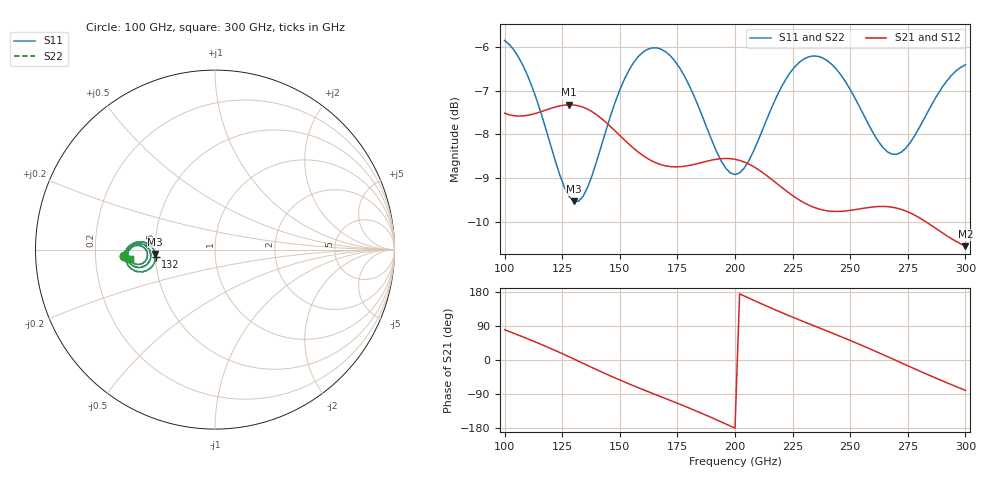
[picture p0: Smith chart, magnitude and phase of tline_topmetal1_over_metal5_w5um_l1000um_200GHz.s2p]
#  GHZ S DB R 50
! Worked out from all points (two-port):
!   101 points, 100 GHz to 300 GHz, reference 50 ohm
!   highest |S21| = -7.32 dB at 128 GHz (marker M1); lowest = -10.6 dB at 300 GHz (marker M2)
!   |S21| within 3 dB of the highest: start of sweep to 291.8 GHz
!   lowest |S11| = -9.5 dB at 130 GHz (marker M3), VSWR 2.00, Z = 25 - j1.34 ohm
!   |S11| at or under -10 dB: nowhere
!   |S22| runs from -9.5 to -5.8 dB; largest |S21 - S12| = 5e-14
!   S11 on the Smith chart (normalised r, x): 100 GHz: 0.32, -0.03; 132 GHz: 0.50, -0.05; 300 GHz: 0.35, -0.05
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100  -5.84 -175.8  -7.51 79.9  -7.51 79.9  -5.84 -175.9
114  -7.22 174.5  -7.51 46.0  -7.51 46.0  -7.22 174.5
128  -9.42 -178.7  -7.32 8.4  -7.32 8.4  -9.42 -178.7
130  -9.54 -175.9  -7.32 2.7  -7.32 2.7  -9.53 -175.9
132  -9.54 -173.0  -7.34 -3.0  -7.34 -3.0  -9.53 -172.9
134  -9.42 -170.2  -7.37 -8.7  -7.37 -8.7  -9.42 -170.1
142  -8.26 -163.3  -7.63 -31.2  -7.63 -31.2  -8.25 -163.3
150  -6.98 -164.1  -8.02 -52.8  -8.02 -52.8  -6.97 -164.1
158  -6.22 -169.0  -8.40 -73.0  -8.40 -73.0  -6.21 -168.9
168  -6.05 -176.5  -8.70 -97.2  -8.70 -97.2  -6.03 -176.4
184  -7.34 175.4  -8.67 -136.7  -8.67 -136.7  -7.31 175.6
192  -8.39 177.4  -8.57 -157.9  -8.57 -157.9  -8.35 177.4
200  -8.92 -175.4  -8.57 -179.9  -8.57 -179.9  -8.87 -175.5
208  -8.39 -168.4  -8.74 157.8  -8.74 157.8  -8.35 -168.5
218  -7.14 -166.9  -9.12 131.0  -9.12 131.0  -7.12 -167.1
234  -6.20 -174.9  -9.67 90.9  -9.67 90.9  -6.19 -175.1
250  -6.97 177.4  -9.74 51.6  -9.74 51.6  -6.97 177.2
260  -7.97 178.1  -9.66 25.6  -9.66 25.6  -7.98 177.9
268  -8.45 -176.9  -9.67 3.9  -9.67 3.9  -8.47 -177.0
276  -8.19 -171.3  -9.80 -18.0  -9.80 -18.0  -8.21 -171.3
284  -7.45 -168.9  -10.04 -39.4  -10.04 -39.4  -7.46 -168.9
300  -6.40 -173.7  -10.56 -80.1  -10.56 -80.1  -6.40 -173.7
